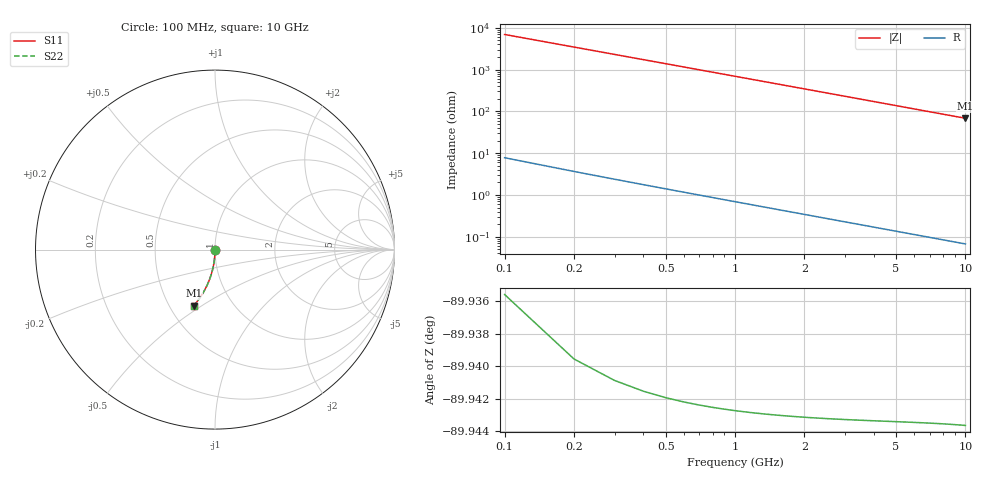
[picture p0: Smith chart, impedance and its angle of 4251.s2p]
# Hz S RI R 50.00
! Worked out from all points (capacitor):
!   100 points, 100 MHz to 10 GHz, reference 50 ohm
!   read as one part in shunt: C = 230 fF near 100 MHz
!   lowest |Z| = 68.5 ohm at 10 GHz (marker M1)
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1e8  2.68e-06 -0.0035  1 -0.00371  1 -0.00371  2.68e-06 -0.0035
2e8  -3.98e-05 -0.00701  0.9999 -0.00743  0.9999 -0.00743  -3.98e-05 -0.00701
3e8  -0.000108 -0.0105  0.9999 -0.0111  0.9999 -0.0111  -0.000108 -0.0105
4e8  -0.000203 -0.014  0.9998 -0.0149  0.9998 -0.0149  -0.000203 -0.014
5e8  -0.000324 -0.0175  0.9996 -0.0186  0.9996 -0.0186  -0.000324 -0.0175
6e8  -0.00047 -0.021  0.9995 -0.0223  0.9995 -0.0223  -0.00047 -0.021
7e8  -0.000643 -0.0245  0.9993 -0.026  0.9993 -0.026  -0.000643 -0.0245
8e8  -0.000842 -0.028  0.9991 -0.0297  0.9991 -0.0297  -0.000842 -0.028
9e8  -0.00107 -0.0315  0.9989 -0.0334  0.9989 -0.0334  -0.00107 -0.0315
1.1e9  -0.00159 -0.0385  0.9984 -0.0408  0.9984 -0.0408  -0.00159 -0.0385
1.4e9  -0.00258 -0.049  0.9974 -0.052  0.9974 -0.052  -0.00258 -0.049
1.8e9  -0.00426 -0.0629  0.9957 -0.0667  0.9957 -0.0667  -0.00426 -0.0629
2.1e9  -0.00579 -0.0733  0.9942 -0.0778  0.9942 -0.0778  -0.00579 -0.0733
2.5e9  -0.00819 -0.0871  0.9918 -0.0925  0.9918 -0.0925  -0.00819 -0.0871
2.9e9  -0.011 -0.1008  0.9889 -0.107  0.9889 -0.107  -0.011 -0.1008
3.4e9  -0.0151 -0.1178  0.9849 -0.1251  0.9849 -0.1251  -0.0151 -0.1178
4.2e9  -0.0229 -0.1446  0.9771 -0.1536  0.9771 -0.1536  -0.0229 -0.1446
5.1e9  -0.0334 -0.1739  0.9665 -0.1848  0.9665 -0.1848  -0.0334 -0.1739
5.9e9  -0.0443 -0.199  0.9556 -0.2118  0.9556 -0.2118  -0.0443 -0.199
6.7e9  -0.0565 -0.2233  0.9433 -0.2378  0.9433 -0.2378  -0.0565 -0.2233
8.4e9  -0.0863 -0.2713  0.9135 -0.2897  0.9135 -0.2897  -0.0863 -0.2713
1e10  -0.1184 -0.3117  0.8814 -0.3337  0.8814 -0.3337  -0.1184 -0.3117
